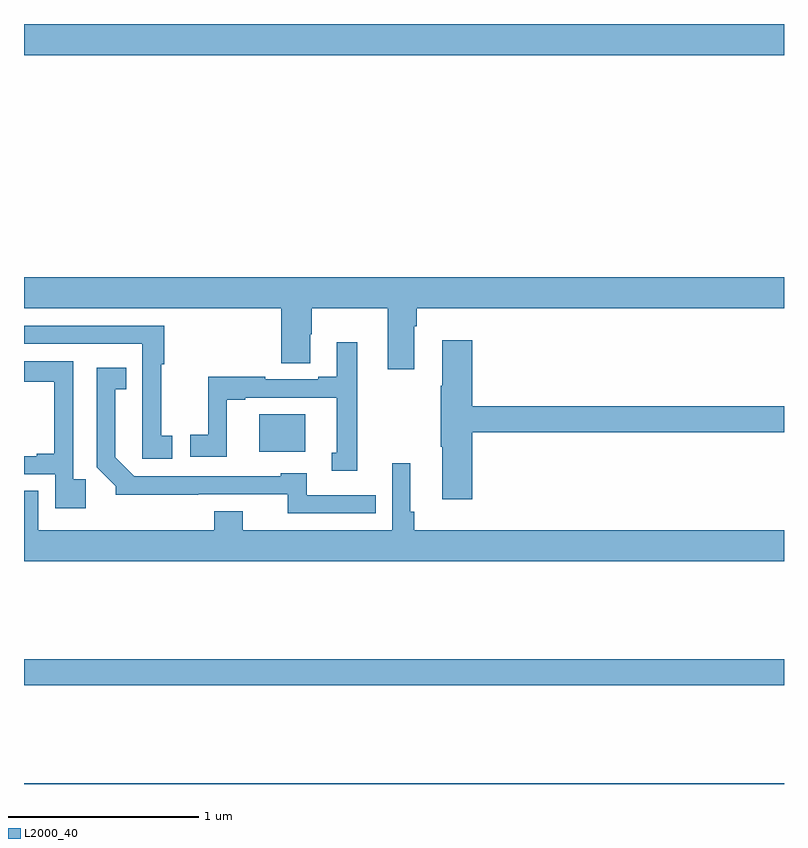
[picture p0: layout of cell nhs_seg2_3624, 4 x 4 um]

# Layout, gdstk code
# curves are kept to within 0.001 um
import gdstk
lib = gdstk.Library(unit=1e-6, precision=1e-09)
def R(c, l, rs):  # rectangles x0, y0, x1, y1
    for r in rs: c.add(gdstk.rectangle(r[:2], r[2:], *l))
def P(c, l, *ps):  # polygons
    for p in ps: c.add(gdstk.Polygon(p, *l))
L2000_40 = (2000, 40)

nhs_seg2_3624 = lib.new_cell('nhs_seg2_3624')
R(nhs_seg2_3624, L2000_40, [(301,643.8,305,643.804), (301,644.32,305,644.456), (302.237,645.548,302.479,645.745), (301,647.636,305,647.8)])
P(nhs_seg2_3624, L2000_40, [(303.055,646.208),(303.068,646.208),(303.068,646.304),(305,646.304),(305,646.468),(301,646.468),(301,646.304),(302.354,646.304),(302.354,646.015),(302.506,646.015),(302.506,646.166),(302.514,646.166),(302.514,646.304),(302.915,646.304),(302.915,645.984),(303.055,645.984)],
  [(301.78,645.633),(301.722,645.633),(301.722,646.009),(301.739,646.009),(301.739,646.212),(301,646.212),(301,646.116),(301.623,646.116),(301.623,645.788),(301.622,645.788),(301.622,645.513),(301.78,645.513)],
  [(303.359,645.652),(305,645.652),(305,645.788),(303.359,645.788),(303.359,646.135),(303.2,646.135),(303.2,645.896),(303.193,645.896),(303.193,645.575),(303.2,645.575),(303.2,645.3),(303.359,645.3)],
  [(302.755,646.126),(302.645,646.126),(302.645,645.943),(302.549,645.943),(302.549,645.93),(302.27,645.93),(302.27,645.943),(301.969,645.943),(301.969,645.638),(301.875,645.638),(301.875,645.522),(302.068,645.522),(302.068,645.822),(302.164,645.822),(302.164,645.834),(302.645,645.834),(302.645,645.543),(302.621,645.543),(302.621,645.449),(302.755,645.449)],
  [(301.325,645.403),(301.26,645.403),(301.26,646.026),(301,646.026),(301,645.918),(301.159,645.918),(301.159,645.538),(301.067,645.538),(301.067,645.525),(301,645.525),(301,645.429),(301.164,645.429),(301.164,645.252),(301.325,645.252)],
  [(302.852,645.321),(302.488,645.321),(302.488,645.436),(302.352,645.436),(302.352,645.42),(301.581,645.42),(301.48,645.521),(301.48,645.878),(301.538,645.878),(301.538,645.991),(301.383,645.991),(301.383,645.466),(301.482,645.367),(301.482,645.323),(302.389,645.324),(302.389,645.225),(302.852,645.225)],
  [(305,645.136),(303.053,645.136),(303.053,645.232),(303.034,645.232),(303.034,645.487),(302.937,645.487),(302.937,645.136),(302.152,645.136),(302.152,645.235),(302,645.235),(302,645.136),(301.075,645.136),(301.075,645.344),(301,645.344),(301,644.972),(305,644.972)])

lib.write_gds('nhs_seg2_3624.gds')
